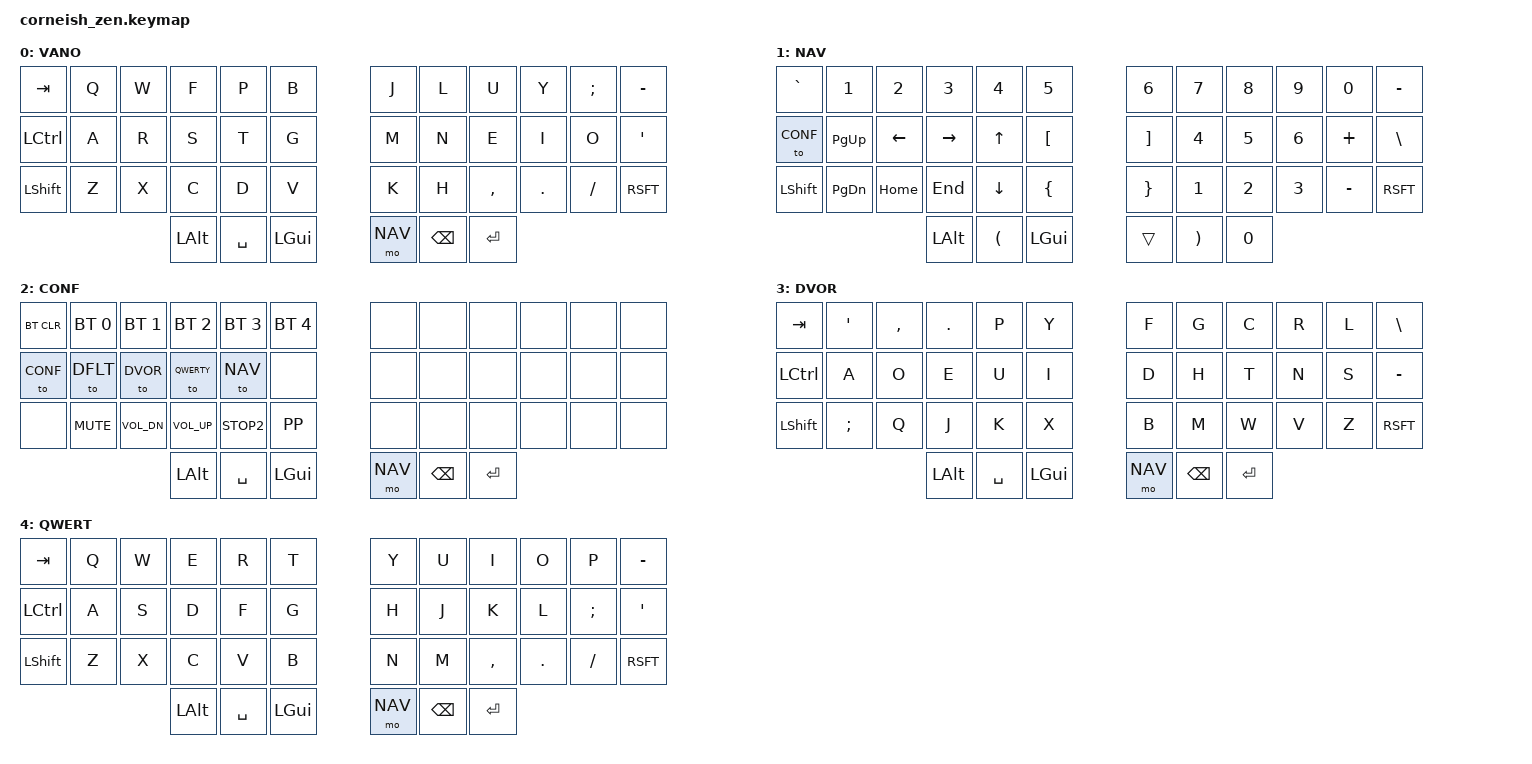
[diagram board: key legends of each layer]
#include <behaviors.dtsi>
#include <dt-bindings/zmk/keys.h>
#include <dt-bindings/zmk/bt.h>

#define DFLT 0
#define NAV 1
#define CONF 2
#define DVOR 3
#define QWERTY 4

&lt {
    tapping-term-ms = <110>;
    flavor = "hold-preferred";

};

&mt {
    tapping-term-ms = <110>;
    flavor = "hold-preferred";
};

/ {
  chosen {
    zmk,matrix_transform = &default_transform;
  };
};

/ {
        keymap {
                compatible = "zmk,keymap";

                default_layer {
                        label = "VANO";
                        bindings = <
// ╭─────────────┬─────────────┬─────────────┬─────────────┬─────────────┬─────────────╮   ╭─────────────┬─────────────┬─────────────┬─────────────┬─────────────┬─────────────╮
     &kp TAB       &kp Q         &kp W         &kp F         &kp P         &kp B             &kp J         &kp L         &kp U         &kp Y         &kp SEMI      &kp MINUS
// ├─────────────┼─────────────┼─────────────┼─────────────┼─────────────┼─────────────┤   ├─────────────┼─────────────┼─────────────┼─────────────┼─────────────┼─────────────┤
     &kp LCTL      &kp A         &kp R         &kp S         &kp T         &kp G             &kp M         &kp N         &kp E         &kp I          &kp O        &kp QUOT      
// ├─────────────┼─────────────┼─────────────┼─────────────┼─────────────┼─────────────┤   ├─────────────┼─────────────┼─────────────┼─────────────┼─────────────┼─────────────┤
     &kp LSHFT     &kp Z         &kp X         &kp C         &kp D         &kp V             &kp K         &kp H         &kp CMMA      &kp DOT       &kp FSLH      &kp RSFT
// ╰─────────────┴─────────────┴─────────────┼─────────────┼─────────────┼─────────────┤   ├─────────────┼─────────────┼─────────────┼─────────────┴─────────────┴─────────────╯
                                               &kp LALT      &kp SPC       &kp LGUI          &mo NAV       &kp BKSP      &kp ENTER         
//                                           ╰─────────────┴─────────────┴─────────────╯   ╰─────────────┴─────────────┴─────────────╯
                        >;
                };

                nav_layer {
                        label = "NAV";
                        bindings = <
// ╭─────────────┬─────────────┬─────────────┬─────────────┬─────────────┬─────────────╮   ╭─────────────┬─────────────┬─────────────┬─────────────┬─────────────┬─────────────╮
     &kp GRAVE     &kp NUMBER_1  &kp NUMBER_2  &kp NUMBER_3  &kp NUMBER_4  &kp NUMBER_5      &kp NUMBER_6  &kp NUMBER_7  &kp NUMBER_8  &kp NUMBER_9  &kp NUMBER_0  &kp MINUS
// ├─────────────┼─────────────┼─────────────┼─────────────┼─────────────┼─────────────┤   ├─────────────┼─────────────┼─────────────┼─────────────┼─────────────┼─────────────┤
     &to CONF      &kp PG_UP     &kp LEFT      &kp RIGHT     &kp UP        &kp LBKT           &kp RBKT     &kp NUMBER_4  &kp NUMBER_5  &kp NUMBER_6  &kp PLUS      &kp BSLH
// ├─────────────┼─────────────┼─────────────┼─────────────┼─────────────┼─────────────┤   ├─────────────┼─────────────┼─────────────┼─────────────┼─────────────┼─────────────┤
     &kp LSHFT     &kp PG_DN     &kp HOME      &kp END       &kp DOWN      &kp LBRC           &kp RBRC     &kp NUMBER_1  &kp NUMBER_2  &kp NUMBER_3  &kp MINUS     &kp RSFT
// ╰─────────────┴─────────────┴─────────────┴─────────────┼─────────────┼─────────────┤   ├─────────────┼─────────────┼─────────────┴─────────────┴─────────────┴─────────────╯
                                               &kp LALT      &kp LPAR      &kp LGUI          &trans        &kp RPAR      &kp NUMBER_0
//                                           ╰─────────────┴─────────────┴─────────────╯   ╰─────────────┴─────────────┴─────────────╯
                        >;
                };

                conf_layer {
                        label = "CONF";
                        bindings = <
// ╭─────────────┬─────────────┬─────────────┬─────────────┬─────────────┬─────────────╮   ╭─────────────┬─────────────┬─────────────┬─────────────┬─────────────┬─────────────╮
     &bt BT_CLR    &bt BT_SEL 0  &bt BT_SEL 1  &bt BT_SEL 2  &bt BT_SEL 3  &bt BT_SEL 4      &none         &none         &none         &none         &none         &none
// ├─────────────┼─────────────┼─────────────┼─────────────┼─────────────┼─────────────┤   ├─────────────┼─────────────┼─────────────┼─────────────┼─────────────┼─────────────┤
     &to CONF      &to DFLT      &to DVOR      &to QWERTY    &to NAV       &none             &none         &none         &none         &none         &none         &none
// ├─────────────┼─────────────┼─────────────┼─────────────┼─────────────┼─────────────┤   ├─────────────┼─────────────┼─────────────┼─────────────┼─────────────┼─────────────┤
     &none         &kp K_MUTE    &kp C_VOL_DN  &kp C_VOL_UP  &kp K_STOP2   &kp K_PP          &none         &none         &none         &none         &none         &none
// ╰─────────────┴─────────────┴─────────────┴─────────────┼─────────────┼─────────────┤   ├─────────────┼─────────────┼─────────────┴─────────────┴─────────────┴─────────────╯
                                               &kp LALT      &kp SPC       &kp LGUI          &mo NAV       &kp BKSP      &kp ENTER         
//                                           ╰─────────────┴─────────────┴─────────────╯   ╰─────────────┴─────────────┴─────────────╯
                        >;
                };

                dvorak_layer {
                        label = "DVOR";
                        bindings = <
// ╭─────────────┬─────────────┬─────────────┬─────────────┬─────────────┬─────────────╮   ╭─────────────┬─────────────┬─────────────┬─────────────┬─────────────┬─────────────╮
     &kp TAB       &kp QUOT      &kp CMMA      &kp DOT       &kp P         &kp Y             &kp F         &kp G         &kp C         &kp R         &kp L         &kp BSLH
// ├─────────────┼─────────────┼─────────────┼─────────────┼─────────────┼─────────────┤   ├─────────────┼─────────────┼─────────────┼─────────────┼─────────────┼─────────────┤
     &kp LCTRL     &kp A         &kp O         &kp E         &kp U         &kp I             &kp D         &kp H         &kp T         &kp N         &kp S         &kp MINUS
// ├─────────────┼─────────────┼─────────────┼─────────────┼─────────────┼─────────────┤   ├─────────────┼─────────────┼─────────────┼─────────────┼─────────────┼─────────────┤
     &kp LSHFT     &kp SEMI      &kp Q         &kp J         &kp K         &kp X             &kp B         &kp M         &kp W         &kp V         &kp Z         &kp RSFT 
// ╰─────────────┴─────────────┴─────────────┴─────────────┼─────────────┼─────────────┤   ├─────────────┼─────────────┼─────────────┴─────────────┴─────────────┴─────────────╯
                                               &kp LALT      &kp SPC       &kp LGUI          &mo NAV       &kp BKSP      &kp ENTER         
//                                           ╰─────────────┴─────────────┴─────────────╯   ╰─────────────┴─────────────┴─────────────╯
                        >;
                };

                qwerty_layer {
                        label = "QWERT";
                        bindings = <
// ╭─────────────┬─────────────┬─────────────┬─────────────┬─────────────┬─────────────╮   ╭─────────────┬─────────────┬─────────────┬─────────────┬─────────────┬─────────────╮
     &kp TAB       &kp Q         &kp W         &kp E         &kp R         &kp T             &kp Y         &kp U         &kp I         &kp O         &kp P         &kp MINUS
// ├─────────────┼─────────────┼─────────────┼─────────────┼─────────────┼─────────────┤   ├─────────────┼─────────────┼─────────────┼─────────────┼─────────────┼─────────────┤
     &kp LCTL      &kp A         &kp S         &kp D         &kp F         &kp G             &kp H         &kp J         &kp K         &kp L        &kp SEMICOLON  &kp QUOT
// ├─────────────┼─────────────┼─────────────┼─────────────┼─────────────┼─────────────┤   ├─────────────┼─────────────┼─────────────┼─────────────┼─────────────┼─────────────┤
     &kp LSHFT     &kp Z         &kp X         &kp C         &kp V         &kp B             &kp N         &kp M         &kp CMMA      &kp DOT       &kp FSLH      &kp RSFT
// ╰─────────────┴─────────────┴─────────────┼─────────────┼─────────────┼─────────────┤   ├─────────────┼─────────────┼─────────────┼─────────────┴─────────────┴─────────────╯
                                               &kp LALT      &kp SPC       &kp LGUI          &mo NAV       &kp BKSP      &kp ENTER         
//                                           ╰─────────────┴─────────────┴─────────────╯   ╰─────────────┴─────────────┴─────────────╯
                        >;
                };
        };
};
